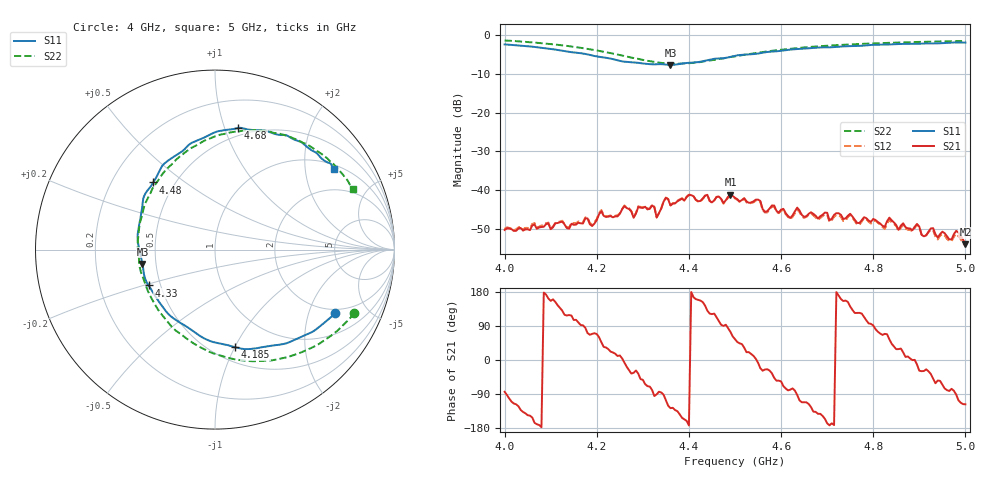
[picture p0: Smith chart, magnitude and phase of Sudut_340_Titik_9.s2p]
# Hz S RI R 50
! CMT, C1220, 16058040, 17.2.0/1
! Date: 15/08/2018 11:37:03
! Data: Format (Calibration Info)
! Freq  S11: Re/Im (F2)  S21: Re/Im (F2)  S12: Re/Im (F2)  S22: Re/Im (F2)
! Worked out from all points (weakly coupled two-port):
!   201 points, 4 GHz to 5 GHz, reference 50 ohm
!   highest |S21| = -41.10 dB at 4.49 GHz (marker M1); lowest = -53.9 dB at 5 GHz (marker M2)
!   lowest |S11| = -7.7 dB at 4.36 GHz (marker M3), VSWR 2.40, Z = 21 - j4.08 ohm
!   |S11| at or under -10 dB: nowhere
!   |S22| runs from -7.4 to -1.4 dB; largest |S21 - S12| = 0.00032
!   S11 on the Smith chart (normalised r, x): 4 GHz: 1.81, -3.02; 4.185 GHz: 0.64, -1.00; 4.33 GHz: 0.43, -0.21; 4.48 GHz: 0.38, +0.38; 4.68 GHz: 0.43, +1.11; 5 GHz: 1.14, +2.84
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4e9  0.6693 -0.3553  0.000323 -0.00306  0.000436 -0.00315  0.7755 -0.3529
4.17e9  0.1649 -0.5545  -0.000107 0.00373  -0.000249 0.00386  0.2759 -0.6196
4.185e9  0.111 -0.5438  0.00145 0.00335  0.00151 0.00348  0.2119 -0.622
4.26e9  -0.1734 -0.4196  0.00621 -0.000739  0.00633 -0.000755  -0.1174 -0.5239
4.28e9  -0.2471 -0.3708  0.00367 -0.00246  0.00371 -0.00256  -0.1977 -0.4659
4.32e9  -0.3491 -0.2334  0.00122 -0.00627  0.00117 -0.00643  -0.3313 -0.3113
4.33e9  -0.3704 -0.1995  -3.64e-05 -0.00445  -0.000107 -0.00449  -0.3552 -0.2689
4.335e9  -0.3805 -0.1822  0.000554 -0.00508  0.000507 -0.00503  -0.3673 -0.2454
4.35e9  -0.398 -0.1231  -0.00224 -0.00766  -0.00232 -0.00772  -0.3952 -0.1721
4.36e9  -0.404 -0.0807  -0.00383 -0.00507  -0.00396 -0.00506  -0.4127 -0.1257
4.4e9  -0.4308 0.0852  -0.00862 -0.00109  -0.00873 -0.000936  -0.4269 0.0751
4.48e9  -0.3439 0.3739  -0.000403 0.00742  -0.000166 0.00726  -0.3012 0.4095
4.49e9  -0.3228 0.411  0.00237 0.00848  0.00242 0.00826  -0.2751 0.4431
4.5e9  -0.306 0.4449  0.0046 0.00656  0.00454 0.0064  -0.2466 0.4704
4.67e9  0.1106 0.6732  -0.00359 -0.00344  -0.00348 -0.00326  0.2472 0.664
4.68e9  0.1301 0.678  -0.0034 -0.00266  -0.00328 -0.00252  0.2714 0.6606
4.75e9  0.2861 0.6611  -0.00388 0.00312  -0.0038 0.00295  0.4317 0.6216
4.825e9  0.4255 0.6213  0.00122 0.00316  0.00119 0.00295  0.5661 0.5515
4.835e9  0.4444 0.6118  0.00257 0.00362  0.00239 0.00345  0.5808 0.5412
4.91e9  0.5569 0.5438  0.00223 -0.00124  0.00223 -0.00123  0.6796 0.4545
4.98e9  0.6458 0.4766  -5.5e-05 -0.003  -8.21e-05 -0.00274  0.7494 0.3653
5e9  0.6609 0.4492  -0.000908 -0.0018  -0.000763 -0.00175  0.7677 0.3387
